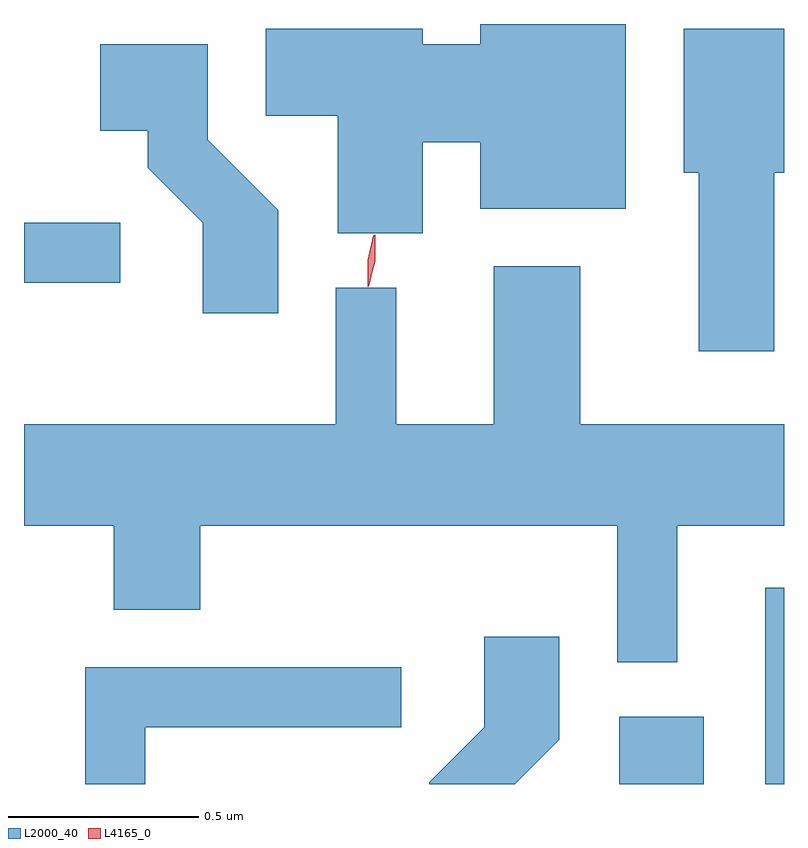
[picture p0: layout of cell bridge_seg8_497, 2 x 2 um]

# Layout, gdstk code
import gdstk
lib = gdstk.Library(unit=1e-6, precision=1e-09)
def R(c, l, rs):  # rectangles x0, y0, x1, y1
    for r in rs: c.add(gdstk.rectangle(r[:2], r[2:], *l))
def P(c, l, *ps):  # polygons
    for p in ps: c.add(gdstk.Polygon(p, *l))
L2000_40 = (2000, 40)
L4165_0 = (4165, 0)

bridge_seg8_497 = lib.new_cell('bridge_seg8_497')
R(bridge_seg8_497, L2000_40, [(210.471,1884.577,210.694,1884.754), (210.856,1884.577,210.905,1885.094), (208.905,1885.896,209.158,1886.054)])
P(bridge_seg8_497, L2000_40, [(209.954,1886.266),(210.106,1886.266),(210.106,1886.091),(210.489,1886.091),(210.489,1886.577),(210.106,1886.577),(210.106,1886.524),(209.954,1886.524),(209.954,1886.564),(209.541,1886.564),(209.541,1886.336),(209.731,1886.336),(209.731,1886.026),(209.954,1886.026)],
  [(210.879,1886.186),(210.905,1886.186),(210.905,1886.564),(210.641,1886.564),(210.641,1886.186),(210.681,1886.186),(210.681,1885.716),(210.879,1885.716)],
  [(209.574,1886.087),(209.389,1886.272),(209.389,1886.524),(209.106,1886.524),(209.106,1886.296),(209.231,1886.296),(209.231,1886.199),(209.376,1886.054),(209.376,1885.816),(209.574,1885.816)],
  [(210.624,1885.256),(210.905,1885.256),(210.905,1885.524),(210.369,1885.524),(210.369,1885.939),(210.141,1885.939),(210.141,1885.524),(209.884,1885.524),(209.884,1885.883),(209.726,1885.883),(209.726,1885.524),(208.905,1885.524),(208.905,1885.256),(209.141,1885.256),(209.141,1885.036),(209.369,1885.036),(209.369,1885.256),(210.466,1885.256),(210.466,1884.898),(210.624,1884.898)],
  [(210.314,1884.694),(210.314,1884.964),(210.116,1884.964),(210.116,1884.727),(209.971,1884.582),(209.971,1884.577),(210.197,1884.577)],
  [(209.224,1884.726),(209.898,1884.726),(209.898,1884.884),(209.066,1884.884),(209.066,1884.577),(209.224,1884.577)])
P(bridge_seg8_497, L4165_0, [(209.812,1885.888),(209.812,1885.889),(209.809,1885.955),(209.824,1886.02),(209.825,1886.021),(209.825,1886.02),(209.828,1885.954),(209.813,1885.889)],
  [(209.811,1885.885),(209.81,1885.886),(209.81,1885.955),(209.828,1886.022),(209.828,1886.023),(209.829,1886.022),(209.829,1885.953),(209.811,1885.886)])

lib.write_gds('bridge_seg8_497.gds')
